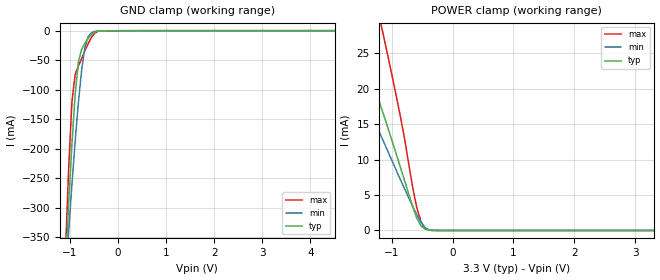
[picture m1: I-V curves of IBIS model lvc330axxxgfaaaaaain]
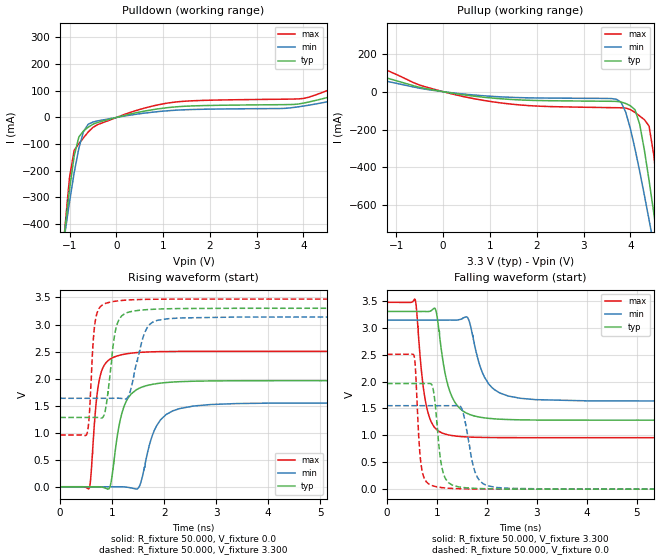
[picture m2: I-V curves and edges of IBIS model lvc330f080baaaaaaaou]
| IBIS Models Generator: Lattice Diamond (64-bit) 3.12.0.240.2
| Generate date: Tue Jan 18 16:17:48 2022
| IBIS File main_fixed.ibs
| Cadence Design Systems, Inc. 2011
[IBIS ver] 3.3
[File Name]   UFO_impl1.ibs
[File Rev]  0.5
[Date]   Thu Jan 11 10:21:36 CST 2018
[Source]   Lattice Semiconductor cs200fl Process
   LCMXO3D-4300ZC   FINAL
   Lattice Semiconductor has worked hard to ensure the
   models below are accurate and complete.  However, the
   data below was generated using simulation of the
   input/output model files for the silicon.  Therefore,
   the data below is for reference and initial design
   purposes only.
   Lattice Semiconductor grants permission to use this
   data for use in printed circuit design using this
   Lattice programmable logic device.  Other use of this
   code, including the selling or duplication of any
   portion is strictly prohibited.
|   NAMING CONVENTION
   The IBIS [Model] header is limited by the specification to a
   total of characters.  With such a set of characters available
   for naming models it becomes important to attempt to
   meaningfully encode the IO standards so they fit within the
   twenty character limit.  It would seem that twenty characters
   would provide room enough for describing IO's.  However, the
   PLD IO structure continues to grow more and more complex.  The
   complexity is making the twenty characters insuffiently
   descriptive.  In order to overcome this issue the naming
   convention described below is implemented to resolve the issue.
The twenty character space is managed as follows:
   bbbvvvsdddprugtcoixx
   b = standard
   v = voltage (x.xx V)
   s = slew code
   d = drive (xx.x ma)
   p = pullup code
   r = series resistance  or bank_vccio code
   u = terminate to vcc code
   g = terminate to gnd code
   t = terminate to vtt code
   c = common mode termination mode
   o = diff resistor code
   i = diff resistor current code
   x = reserved
   standard
   LVCMOS   lvc
   lvcmosd   lvd
   lvcmosr   lvr
   LVDS25E   lve
   LVTTL   lvt
   lvttld   ltd
   PCI   pci
   pcix   pcx
   lvds25   lvs
   blvds25   blv
   blvds25e   blv
   mlvds25   mlv
   mlvds25e   mle
   lvpecl   lvp
   lvpecl33   lvp
   lvpecl33e   lvp
   cml   cml
   hypt   hyp
   rsds25   rsd
   rsds25e   rse
   mipi_lp   mip
   mipi   mip
   vref1   vr1
   vref2   vr2
   ref_res   rer
   i3c33   i3c
   i3c18   i3c
   i3c12   i3c
   slew
   na   a
   fast   f
   slow   s
   pullmode
   off   a
   pullup   b
   pulldown   c
   bushold   d
   clamp   e
   up_clamp   f
   down_clamp   g
   keeper_clamp   h
   i3c_clamp   e
   impedance or Bank_vccio
   off   a
   25   b
   33   c
   50   d
   100   e
   3.3   f
   2.5   g
   1.8   h
   1.5   i
   1.2   j
   termVCC
   off   a
   50   b
   100   c
   120   d
   termGND
   off   a
   50   b
   100   c
   120   d
   termVTT
   off   a
   60   b
   75   c
   120   d
   150   e
   210   f
   VCMT
   off   a
   VCMT   b
   VTT   c
   DDR-2   d
   differential resistor
   off   a
   100   b
   diff drive
   NA   a
   2.0   b
   3.5   c
   1.25   f
   2.5   g
   Reserved   IO type
   in   input only
   ou   output
   io   I/O
   od   Open drain
   on   Inverting differential I/O
   (signal name only)
   op   Non-Inverting differential I/O
   (signal name only)
   Lattice Semiconductor Corporation
   5555 NE Moore Court
   Hillsboro, OR 97214
   U.S.A
   TEL: 1-800-Lattice (USA and Canada)
   408-826-6000 (other locations)
   web: http://www.latticesemi.com/
   email: techsupport@latticesemi.com
[Disclaimer]  This IBIS source code is intended as a design reference which
  illustrates how the Lattice Semiconductor device operates. It is the user's
  responsibility to verify their design for consistency and functionality
  through the use of formal verification methods. Lattice Semiconductor
  provides no warranty regarding the use or functionality of this data.
[Copyright] Copyright 2007 by Lattice Semiconductor Corporation
|   Component XO3D
[Component] XO3D
[Manufacturer] Lattice Semiconductor Corp.
[Package]
|QFN72_4300
|variable   typ   min   max
R_pkg   175.42m   121.83m   245.44m
L_pkg   2.78nH   1.676nH   3.852nH
C_pkg   0.3626pF   0.28pF   0.4651pF
[Pin]  signal_name   model_name   R_pin   L_pin   C_pin
23   clk   lvc330axxxgfaaaaaain
6   led0   lvc330f080baaaaaaaou
7   led1   lvc330f080baaaaaaaou
8   led2   lvc330f080baaaaaaaou
9   led3   lvc330f080baaaaaaaou
10   led4   lvc330f080baaaaaaaou
11   led5   lvc330f080baaaaaaaou
12   led6   lvc330f080baaaaaaaou
13   led7   lvc330f080baaaaaaaou
51   trigger   lvc330axxxgfaaaaaain
| Models and submodels in the file (2): lvc330axxxgfaaaaaain (Input), lvc330f080baaaaaaaou (Output)
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[Model] lvc330axxxgfaaaaaain
Model_type Input
Polarity   Non-Inverting
Enable   Active-High
Vinl =  0.800V
Vinh =  2.000V
C_comp   4.200pF   3.800pF   7.500pF
[Temperature Range]   25.000   0.105k   -40.000
[Voltage Range]   3.300V   3.140V   3.470V
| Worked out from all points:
|   GND clamp passes 1 mA (typ) near -0.43 V on its own axis
|   POWER clamp passes 1 mA (typ) near -0.54 V on its own axis
[GND_clamp]
|Voltage   I(typ)   I(min)   I(max)
-3.3V     -4.507A    -3.482A    -6.263A
-1.089V   -398.4mA   -420.6mA   -374.7mA
-1.022V   -290.7mA   -338.6mA   -230.6mA
-955mV    -191.4mA   -260.2mA   -120.1mA
-888mV    -107.5mA   -187mA     -73.7mA
-821mV    -53mA      -121.4mA   -59.85mA
-754mV    -31.41mA   -66.94mA   -47.47mA
-687mV    -21.17mA   -28.82mA   -34.25mA
-620mV    -13.21mA   -10.23mA   -22mA
-486mV    -2.63mA    -1.112mA   -4.479mA
-285mV    -80.91uA   -42.41uA   -152.3uA
6.6V      121.2uA    55.84uA    291.2uA
[POWER_clamp]
|Voltage   I(typ)   I(min)   I(max)
-3.3V     59.17mA    46.96mA    89.71mA
-1.993V   37.21mA    28.87mA    58.18mA
-1.926V   35.73mA    27.67mA    56.02mA
-1.591V   27.93mA    21.43mA    44.63mA
-1.189V   17.84mA    13.65mA    29.69mA
-1.122V   16.09mA    12.35mA    27.06mA
-988mV    12.53mA    9.74mA     21.66mA
-787mV    7.047mA    5.88mA     12.98mA
-586mV    1.736mA    2.238mA    3.233mA
-519mV    672uA      1.196mA    1.278mA
-452mV    189uA      428.3uA    309.6uA
3.3V      0A         0A         0A
[Model] lvc330f080baaaaaaaou
Model_type Output
Polarity   Non-Inverting
Enable   Active-High
Vmeas =  1.650V
Cref =  0.0F
Rref =  1.000M
Vref =  0.0V
C_comp   4.200pF   3.800pF   7.500pF
[Temperature Range]   25.000   0.105k   -40.000
[Voltage Range]   3.300V   3.140V   3.470V
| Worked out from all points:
|   slope of the pulldown table from 0 to 0.495 V, typ, clamps not added: 24.3 ohm
|   slope of the pullup table from 0 to 0.495 V, typ, clamps not added: 26.6 ohm
|   rising waveform, R_fixture 50.000, V_fixture 0.0: 20-80 % time 242ps typ, 323ps min, 146ps max; typ from 0.002 V to 1.96 V
|   rising waveform, R_fixture 50.000, V_fixture 3.300: 20-80 % time 155ps typ, 230ps min, 93.1ps max; typ from 1.28 V to 3.3 V
|   falling waveform, R_fixture 50.000, V_fixture 3.300: 20-80 % time 267ps typ, 327ps min, 187ps max; typ from 3.3 V to 1.28 V
|   falling waveform, R_fixture 50.000, V_fixture 0.0: 20-80 % time 135ps typ, 200ps min, 93.7ps max; typ from 1.96 V to 0.002 V
[Pulldown]
|Voltage   I(typ)   I(min)   I(max)
-3.3V     -4.507A    -3.482A    -6.263A
-1.1V     -423.4mA   -437.5mA   -416.7mA
-1V       -269.7mA   -316.9mA   -225.2mA
-900mV    -144.5mA   -206.8mA   -123.1mA
-800mV    -72.93mA   -115.2mA   -98.46mA
-700mV    -50.75mA   -52.06mA   -75.94mA
-500mV    -25.39mA   -17.08mA   -37.33mA
400mV     16.79mA    11.47mA    24.72mA
1.2V      38.66mA    26.45mA    56.57mA
4.1V      57.51mA    45.64mA    75.36mA
5.4V      125.7mA    96.54mA    179.1mA
6.6V      225.9mA    165.1mA    339.4mA
[Pullup]
|Voltage   I(typ)   I(min)   I(max)
-3.3V     216.1mA    162.8mA    336.4mA
200mV     -8.108mA   -6.066mA   -12.58mA
1.7V      -44.15mA   -31.81mA   -71.17mA
3.7V      -51.26mA   -39.86mA   -84.66mA
3.9V      -62.3mA    -107.4mA   -86.52mA
4.1V      -95.17mA   -302.3mA   -109.5mA
4.2V      -172.6mA   -421.2mA   -128.8mA
4.4V      -468.9mA   -676.6mA   -181.9mA
4.5V      -639.3mA   -809mA     -333.7mA
4.6V      -815.4mA   -943.4mA   -557.7mA
4.7V      -994.9mA   -1.079A    -803mA
6.6V      -4.562A    -3.748A    -5.893A
[Ramp]
| variable   typ   min   max
dV/dt_r   1.176/0.241n   0.930/0.324n   1.501/0.146n
dV/dt_f   1.211/0.270n   0.902/0.331n   1.507/0.188n
R_load = 50.000
[Rising Waveform]
R_fixture= 50.000
V_fixture= 0.0
V_fixture_min= 0.0
V_fixture_max= 0.0
|time   V(typ)   V(min)   V(max)
0s        2.128mV    1.725mV    2.736mV
561ps     2.168mV    1.719mV    -23.14mV
733ps     2.356mV    1.719mV    1.866V
939ps     -37.16mV   1.789mV    2.346V
1.158ns   1.245V     1.975mV    2.434V
1.369ns   1.719V     -19.92mV   2.471V
1.531ns   1.825V     22.59mV    2.484V
1.933ns   1.917V     1.24V      2.499V
2.566ns   1.952V     1.494V     2.503V
20ns      1.962V     1.551V     2.504V
[Rising Waveform]
R_fixture= 50.000
V_fixture= 3.300
V_fixture_min= 3.140
V_fixture_max= 3.470
|time   V(typ)   V(min)   V(max)
0s        1.282V     1.637V     957.6mV
517ps     1.282V     1.637V     981.4mV
558ps     1.282V     1.637V     1.291V
664ps     1.283V     1.637V     2.983V
823ps     1.285V     1.637V     3.367V
1.063ns   2.883V     1.638V     3.431V
1.322ns   3.229V     1.692V     3.454V
1.67ns    3.274V     2.936V     3.465V
2.068ns   3.291V     3.106V     3.468V
20ns      3.3V       3.14V      3.47V
[Falling Waveform]
R_fixture= 50.000
V_fixture= 3.300
V_fixture_min= 3.140
V_fixture_max= 3.470
|time   V(typ)   V(min)   V(max)
0s        3.3V       3.14V      3.47V
563ps     3.3V       3.14V      3.52V
750ps     3.3V       3.14V      1.737V
961ps     3.356V     3.14V      1.136V
1.296ns   1.723V     3.14V      996.7mV
1.619ns   1.4V       3.176V     970.8mV
1.882ns   1.334V     2.227V     962.8mV
2.102ns   1.311V     1.885V     959.8mV
2.966ns   1.285V     1.664V     957.8mV
20ns      1.282V     1.637V     957.6mV
[Falling Waveform]
R_fixture= 50.000
V_fixture= 0.0
V_fixture_min= 0.0
V_fixture_max= 0.0
|time   V(typ)   V(min)   V(max)
0s        1.962V     1.551V     2.504V
539ps     1.962V     1.551V     2.483V
696ps     1.962V     1.551V     369.2mV
917ps     1.883V     1.551V     62.8mV
1.048ns   717.9mV    1.551V     36.47mV
1.175ns   187.3mV    1.551V     22.95mV
1.469ns   39.7mV     1.537V     9.576mV
1.807ns   15.04mV    221.9mV    4.744mV
2.188ns   6.358mV    33.13mV    3.208mV
20ns      2.128mV    1.725mV    2.736mV
